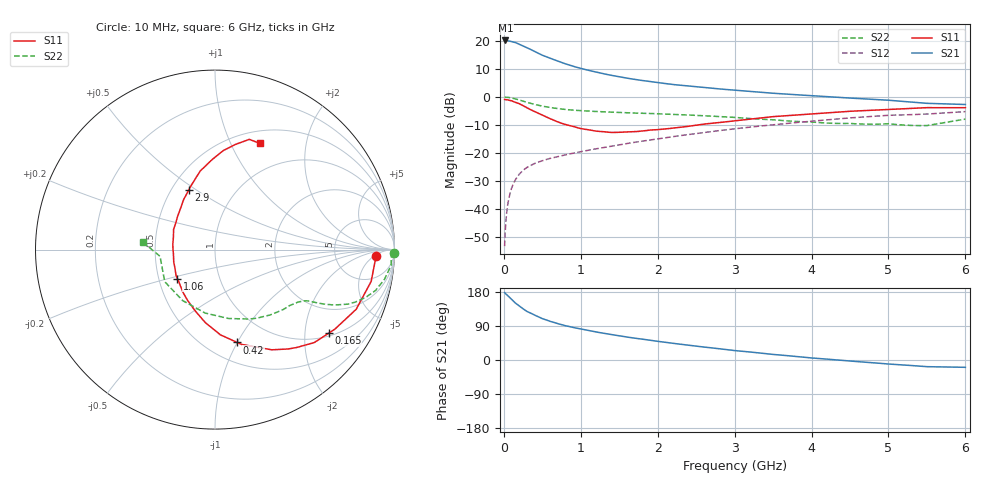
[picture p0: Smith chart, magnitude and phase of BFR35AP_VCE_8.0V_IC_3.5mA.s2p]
! Infineon Technologies  Discrete & RF Semiconductors
! BFR35AP
! VCE =  8.0 V,  IC =  3.5 mA
! Common Emitter S-Parameters:  Nov 2015
# GHz  S  MA  R  50
!  f  S11  S21  S12  S22
! GHz  MAG  ANG  MAG  ANG  MAG  ANG  MAG  ANG
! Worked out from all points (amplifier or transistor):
!   210 points, 10 MHz to 6 GHz, reference 50 ohm
!   highest |S21| = 20.1 dB at 20 MHz (marker M1)
!   |S21| within 3 dB of that: start of sweep to 333.3 MHz
!   unconditionally stable (mu >= 1): 980.4 MHz to 3.217 GHz
!   at 185 MHz: K = 0.29, MSG = 23.5 dB, |S12| = -28.1 dB
!   at 1.52 GHz: K = 1.11, MAG = 10.0 dB, |S12| = -17.0 dB
!   at 6 GHz: K = 0.92, MSG = 1.3 dB, |S12| = -5.3 dB
!   S11 on the Smith chart (normalised r, x): 10 MHz: 16, -6; 165 MHz: 1.09, -2.65; 420 MHz: 0.69, -1.00; 1.06 GHz: 0.62, -0.22; 2.9 GHz: 0.61, +0.46; 6 GHz: 0.64, +1.29
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0.01  0.8992 -2.3  10.01 177.9  0.0022 90.3  0.9962 -1.0
0.02  0.8936 -4.5  10.11 175.6  0.0044 91.5  0.9837 -2.0
0.05  0.888 -11.5  10.03 169.8  0.012 83.9  0.985 -5.1
0.1  0.8541 -22.9  9.671 160.4  0.0236 77.2  0.9591 -9.9
0.15  0.8014 -33.6  9.305 150.3  0.0334 71.5  0.9229 -14.3
0.165  0.7861 -36.3  9.097 148.1  0.036 70.2  0.9103 -15.2
0.24  0.71 -50.2  8.179 136.6  0.0477 64.1  0.8493 -19.6
0.3  0.6414 -60.5  7.542 128.2  0.0554 61.2  0.8006 -22.3
0.42  0.5321 -76.5  6.252 116.6  0.0668 56.7  0.7232 -25.2
0.5  0.4756 -86.4  5.518 109.2  0.0731 54.9  0.6838 -26.4
0.6  0.4101 -97.6  4.879 102.1  0.0803 54.0  0.6474 -27.4
0.7  0.3593 -107.8  4.346 95.9  0.0863 53.9  0.6188 -28.1
0.8  0.3224 -118.1  3.88 90.5  0.0928 53.9  0.5965 -28.7
1.02  0.2698 -138.5  3.164 81.0  0.1069 54.4  0.5669 -30.4
1.06  0.2646 -142.3  3.067 79.4  0.1096 54.6  0.5628 -30.8
1.4  0.2329 -172.5  2.413 67.0  0.1327 55.6  0.5362 -34.2
2.02  0.2627 146.6  1.782 48.8  0.1811 55.2  0.4994 -43.0
2.9  0.3621 113.9  1.351 27.4  0.2607 50.6  0.4391 -61.1
3.1  0.3882 109.0  1.284 23.1  0.2799 48.8  0.4211 -66.5
4.1  0.5096 90.7  1.031 3.9  0.3797 38.5  0.3488 -103.3
5.1  0.6056 77.7  0.85 -11.9  0.4739 24.5  0.3226 -152.1
6  0.6424 67.2  0.732 -19.3  0.5463 13.5  0.4018 174.3
